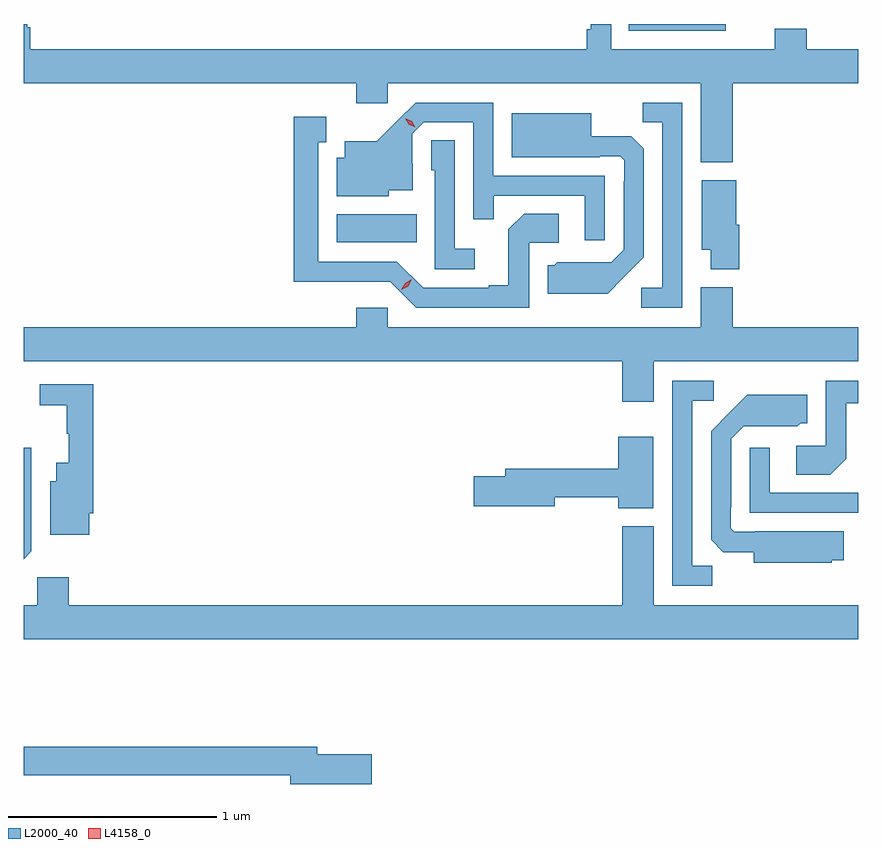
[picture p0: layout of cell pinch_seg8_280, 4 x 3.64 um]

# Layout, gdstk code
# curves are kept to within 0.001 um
import gdstk
lib = gdstk.Library(unit=1e-6, precision=1e-09)
def R(c, l, rs):  # rectangles x0, y0, x1, y1
    for r in rs: c.add(gdstk.rectangle(r[:2], r[2:], *l))
def P(c, l, *ps):  # polygons
    for p in ps: c.add(gdstk.Polygon(p, *l))
L2000_40 = (2000, 40)
L4158_0 = (4158, 0)

pinch_seg8_280 = lib.new_cell('pinch_seg8_280')
R(pinch_seg8_280, L2000_40, [(529.202,1137.05,529.586,1137.184), (530.602,1138.065,531.066,1138.097)])
P(pinch_seg8_280, L2000_40, [(530.948,1137.434),(531.101,1137.434),(531.101,1137.812),(531.702,1137.812),(531.702,1137.976),(531.455,1137.976),(531.455,1138.075),(531.302,1138.075),(531.302,1137.976),(530.517,1137.976),(530.517,1138.097),(530.42,1138.097),(530.42,1138.072),(530.401,1138.072),(530.401,1137.976),(527.732,1137.976),(527.732,1138.082),(527.719,1138.082),(527.719,1138.097),(527.702,1138.097),(527.702,1137.812),(529.295,1137.812),(529.295,1137.717),(529.446,1137.717),(529.446,1137.812),(530.948,1137.812)],
  [(530.487,1137.369),(529.953,1137.369),(529.953,1137.72),(529.58,1137.72),(529.393,1137.535),(529.241,1137.535),(529.241,1137.457),(529.202,1137.457),(529.202,1137.272),(529.452,1137.272),(529.452,1137.299),(529.567,1137.299),(529.567,1137.428),(529.563,1137.428),(529.563,1137.57),(529.62,1137.627),(529.857,1137.627),(529.857,1137.16),(529.955,1137.16),(529.955,1137.273),(530.391,1137.273),(530.391,1137.06),(530.487,1137.06)],
  [(530.859,1137.72),(530.668,1137.72),(530.668,1137.625),(530.763,1137.625),(530.763,1136.832),(530.661,1136.832),(530.661,1136.736),(530.859,1136.736)],
  [(530.581,1136.885),(530.673,1136.978),(530.673,1137.5),(530.614,1137.559),(530.422,1137.559),(530.422,1137.67),(530.042,1137.67),(530.042,1137.458),(530.462,1137.458),(530.462,1137.462),(530.562,1137.462),(530.58,1137.444),(530.58,1137.344),(530.577,1137.344),(530.577,1137.015),(530.517,1136.955),(530.26,1136.956),(530.244,1136.94),(530.213,1136.94),(530.213,1136.804),(530.501,1136.804)],
  [(530.124,1137.048),(530.266,1137.048),(530.266,1137.188),(530.101,1137.188),(530.025,1137.112),(530.025,1136.845),(529.931,1136.845),(529.931,1136.832),(529.617,1136.832),(529.491,1136.958),(529.114,1136.958),(529.114,1137.531),(529.153,1137.531),(529.153,1137.652),(528.996,1137.652),(528.996,1136.861),(529.458,1136.862),(529.584,1136.736),(530.124,1136.736)],
  [(529.864,1137.019),(529.767,1137.019),(529.767,1137.539),(529.656,1137.539),(529.656,1137.396),(529.671,1137.396),(529.671,1136.922),(529.864,1136.922)],
  [(531.131,1137.135),(531.118,1137.135),(531.118,1137.349),(530.951,1137.349),(530.951,1137.014),(530.996,1137.014),(530.996,1136.921),(531.131,1136.921)],
  [(530.722,1136.48),(531.702,1136.48),(531.702,1136.644),(531.101,1136.644),(531.101,1136.836),(530.948,1136.836),(530.948,1136.644),(529.446,1136.644),(529.446,1136.737),(529.295,1136.737),(529.295,1136.644),(527.702,1136.644),(527.702,1136.48),(530.57,1136.48),(530.57,1136.286),(530.722,1136.286)],
  [(531.003,1135.499),(530.907,1135.499),(530.907,1136.292),(531.01,1136.292),(531.01,1136.388),(530.811,1136.388),(530.811,1135.404),(531.003,1135.404)],
  [(531.645,1136.012),(531.645,1136.28),(531.702,1136.28),(531.702,1136.388),(531.546,1136.388),(531.546,1136.076),(531.405,1136.076),(531.405,1135.936),(531.569,1135.936)],
  [(528.016,1135.753),(528.035,1135.753),(528.035,1136.37),(527.778,1136.37),(527.778,1136.269),(527.907,1136.269),(527.907,1136.133),(527.918,1136.133),(527.918,1135.993),(527.858,1135.993),(527.858,1135.906),(527.828,1135.906),(527.828,1135.649),(528.016,1135.649)],
  [(531.576,1135.526),(531.632,1135.526),(531.632,1135.666),(531.208,1135.666),(531.208,1135.662),(531.108,1135.662),(531.09,1135.68),(531.09,1135.78),(531.093,1135.78),(531.093,1136.109),(531.153,1136.169),(531.41,1136.168),(531.426,1136.184),(531.457,1136.184),(531.457,1136.32),(531.169,1136.32),(530.997,1136.146),(530.997,1135.624),(531.056,1135.565),(531.2,1135.565),(531.2,1135.514),(531.576,1135.514)],
  [(530.719,1136.119),(530.552,1136.119),(530.552,1135.964),(530.009,1135.964),(530.009,1135.928),(529.86,1135.928),(529.86,1135.786),(530.248,1135.786),(530.248,1135.828),(530.552,1135.828),(530.552,1135.775),(530.719,1135.775)],
  [(527.739,1135.569),(527.739,1136.065),(527.702,1136.065),(527.702,1135.532)],
  [(531.702,1135.851),(531.279,1135.851),(531.279,1136.065),(531.183,1136.065),(531.183,1135.755),(531.702,1135.755)],
  [(531.702,1135.312),(530.722,1135.312),(530.722,1135.69),(530.57,1135.69),(530.57,1135.312),(527.918,1135.312),(527.918,1135.444),(527.766,1135.444),(527.766,1135.312),(527.702,1135.312),(527.702,1135.148),(531.702,1135.148)],
  [(529.369,1134.596),(529.108,1134.596),(529.108,1134.632),(527.702,1134.632),(527.702,1134.496),(528.98,1134.496),(528.98,1134.454),(529.369,1134.454)])
P(pinch_seg8_280, L4158_0, [(529.578,1137.602),(529.547,1137.617),(529.53,1137.646),(529.53,1137.646),(529.53,1137.646),(529.561,1137.632),(529.578,1137.602),(529.578,1137.602)],
  [(529.512,1136.823),(529.512,1136.823),(529.53,1136.855),(529.562,1136.874),(529.562,1136.874),(529.562,1136.874),(529.544,1136.841),(529.512,1136.823)])

lib.write_gds('pinch_seg8_280.gds')
